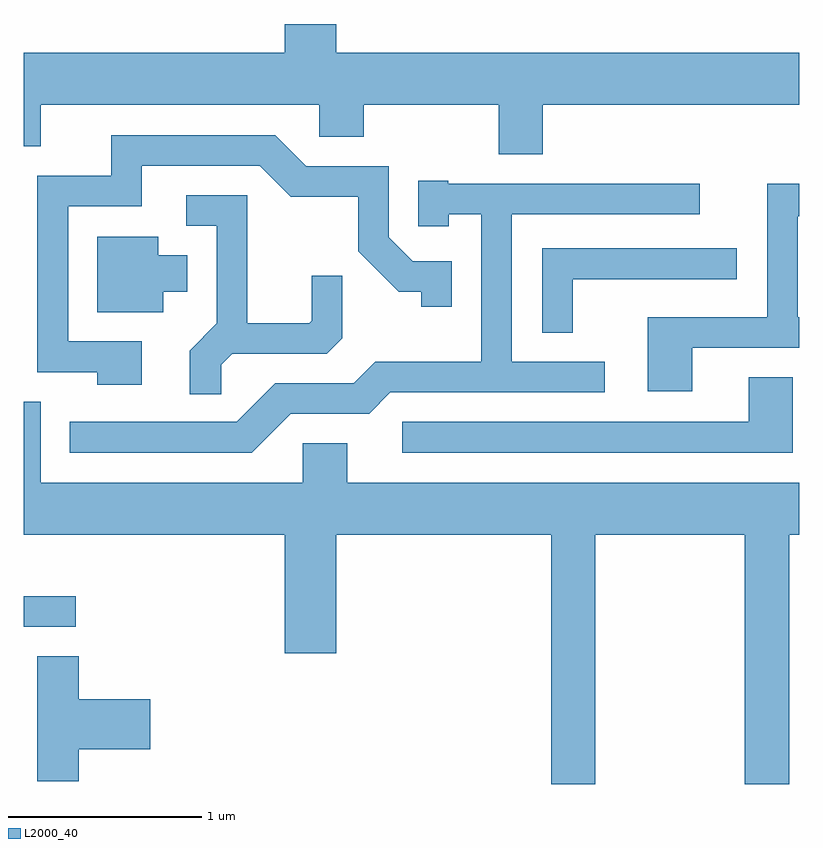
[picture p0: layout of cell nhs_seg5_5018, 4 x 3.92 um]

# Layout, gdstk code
import gdstk
lib = gdstk.Library(unit=1e-6, precision=1e-09)
def R(c, l, rs):  # rectangles x0, y0, x1, y1
    for r in rs: c.add(gdstk.rectangle(r[:2], r[2:], *l))
def P(c, l, *ps):  # polygons
    for p in ps: c.add(gdstk.Polygon(p, *l))
L2000_40 = (2000, 40)

nhs_seg5_5018 = lib.new_cell('nhs_seg5_5018')
R(nhs_seg5_5018, L2000_40, [(333.611,1482.961,333.878,1483.119)])
P(nhs_seg5_5018, L2000_40, [(336.289,1485.656),(337.611,1485.656),(337.611,1485.924),(335.224,1485.924),(335.224,1486.072),(334.956,1486.072),(334.956,1485.924),(333.611,1485.924),(333.611,1485.441),(333.699,1485.441),(333.699,1485.656),(335.136,1485.656),(335.136,1485.491),(335.364,1485.491),(335.364,1485.656),(336.061,1485.656),(336.061,1485.401),(336.289,1485.401)],
  [(334.219,1484.434),(333.839,1484.434),(333.839,1485.131),(334.219,1485.131),(334.219,1485.341),(334.829,1485.341),(334.989,1485.181),(335.336,1485.181),(335.336,1484.899),(335.544,1484.691),(335.661,1484.691),(335.661,1484.613),(335.819,1484.613),(335.819,1484.849),(335.617,1484.849),(335.494,1484.972),(335.494,1485.339),(335.067,1485.339),(334.907,1485.499),(334.061,1485.499),(334.061,1485.289),(333.681,1485.289),(333.681,1484.276),(333.991,1484.276),(333.991,1484.211),(334.219,1484.211)],
  [(334.987,1484.061),(335.392,1484.061),(335.502,1484.171),(336.608,1484.171),(336.608,1484.329),(336.129,1484.329),(336.129,1485.091),(337.098,1485.091),(337.098,1485.249),(335.8,1485.249),(335.8,1485.264),(335.646,1485.264),(335.646,1485.028),(335.804,1485.028),(335.804,1485.091),(335.971,1485.091),(335.971,1484.329),(335.424,1484.329),(335.314,1484.219),(334.909,1484.219),(334.709,1484.019),(333.848,1484.019),(333.848,1483.861),(334.787,1483.861)],
  [(337.059,1484.401),(337.611,1484.401),(337.611,1484.559),(337.604,1484.559),(337.604,1485.081),(337.611,1485.081),(337.611,1485.249),(337.446,1485.249),(337.446,1484.559),(336.831,1484.559),(336.831,1484.176),(337.059,1484.176)],
  [(334.629,1484.314),(334.687,1484.371),(335.174,1484.371),(335.254,1484.452),(335.254,1484.773),(335.096,1484.773),(335.096,1484.542),(335.084,1484.529),(334.764,1484.529),(334.764,1485.189),(334.448,1485.189),(334.448,1485.031),(334.606,1485.031),(334.606,1484.527),(334.466,1484.387),(334.466,1484.163),(334.629,1484.163)],
  [(334.329,1484.691),(334.454,1484.691),(334.454,1484.879),(334.304,1484.879),(334.304,1484.974),(333.991,1484.974),(333.991,1484.586),(334.329,1484.586)],
  [(336.444,1484.756),(337.288,1484.756),(337.288,1484.914),(336.286,1484.914),(336.286,1484.478),(336.444,1484.478)],
  [(337.579,1484.249),(337.351,1484.249),(337.351,1484.019),(335.563,1484.019),(335.563,1483.861),(337.579,1483.861)],
  [(336.559,1483.436),(337.331,1483.436),(337.331,1482.151),(337.559,1482.151),(337.559,1483.436),(337.611,1483.436),(337.611,1483.704),(335.279,1483.704),(335.279,1483.909),(335.051,1483.909),(335.051,1483.704),(333.699,1483.704),(333.699,1484.124),(333.611,1484.124),(333.611,1483.436),(334.956,1483.436),(334.956,1482.826),(335.224,1482.826),(335.224,1483.436),(336.331,1483.436),(336.331,1482.151),(336.559,1482.151)],
  [(333.894,1482.331),(334.264,1482.331),(334.264,1482.589),(333.894,1482.589),(333.894,1482.809),(333.681,1482.809),(333.681,1482.166),(333.894,1482.166)])

lib.write_gds('nhs_seg5_5018.gds')
